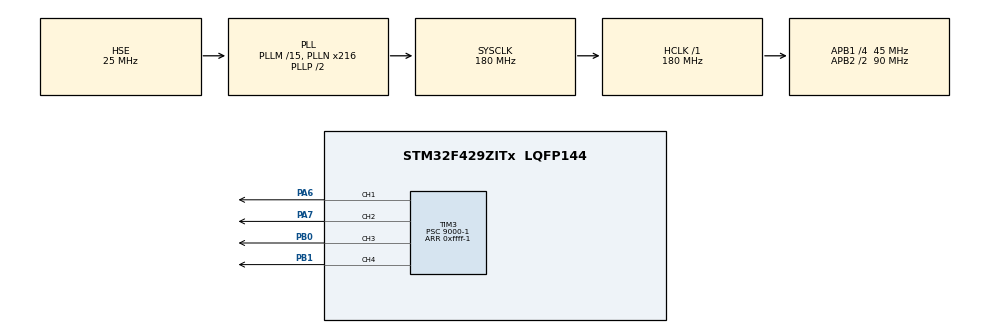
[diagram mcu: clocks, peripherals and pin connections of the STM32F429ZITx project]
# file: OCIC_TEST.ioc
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Mcu.Family=STM32F4
Mcu.Name=STM32F429ZITx
Mcu.Package=LQFP144
NVIC.PriorityGroup=NVIC_PRIORITYGROUP_4
NVIC.TIM3_IRQn=true\:0\:0\:false\:false\:true\:true\:true\:true
PA6.Signal=S_TIM3_CH1
PA7.Signal=S_TIM3_CH2
PB0.Signal=S_TIM3_CH3
PB1.Signal=S_TIM3_CH4
PC14/OSC32_IN.Mode=LSE-External-Oscillator
PC14/OSC32_IN.Signal=RCC_OSC32_IN
PC15/OSC32_OUT.Mode=LSE-External-Oscillator
PC15/OSC32_OUT.Signal=RCC_OSC32_OUT
PH0/OSC_IN.Mode=HSE-External-Clock-Source
PH0/OSC_IN.Signal=RCC_OSC_IN
PH1/OSC_OUT.Mode=HSE-External-Clock-Source
PH1/OSC_OUT.Signal=RCC_OSC_OUT
ProjectManager.HeapSize=0x200
ProjectManager.StackSize=0x400
ProjectManager.TargetToolchain=STM32CubeIDE
RCC.48MHZClocksFreq_Value=90000000
RCC.AHBFreq_Value=180000000
RCC.APB1CLKDivider=RCC_HCLK_DIV4
RCC.APB1Freq_Value=45000000
RCC.APB1TimFreq_Value=90000000
RCC.APB2CLKDivider=RCC_HCLK_DIV2
RCC.APB2Freq_Value=90000000
RCC.APB2TimFreq_Value=180000000
RCC.CortexFreq_Value=180000000
RCC.HCLKFreq_Value=180000000
RCC.HSE_VALUE=25000000
RCC.HSI_VALUE=16000000
RCC.PLLM=15
RCC.PLLN=216
RCC.PLLSourceVirtual=RCC_PLLSOURCE_HSE
RCC.SYSCLKFreq_VALUE=180000000
RCC.SYSCLKSource=RCC_SYSCLKSOURCE_PLLCLK
RCC.VCOOutputFreq_Value=360000000
SH.S_TIM3_CH1.0=TIM3_CH1,Output Compare1 CH1
SH.S_TIM3_CH2.0=TIM3_CH2,Output Compare2 CH2
SH.S_TIM3_CH3.0=TIM3_CH3,Output Compare3 CH3
SH.S_TIM3_CH4.0=TIM3_CH4,Output Compare4 CH4
TIM3.Channel-Output\ Compare1\ CH1=TIM_CHANNEL_1
TIM3.Channel-Output\ Compare2\ CH2=TIM_CHANNEL_2
TIM3.Channel-Output\ Compare3\ CH3=TIM_CHANNEL_3
TIM3.Channel-Output\ Compare4\ CH4=TIM_CHANNEL_4
TIM3.OCMode_1=TIM_OCMODE_TOGGLE
TIM3.OCMode_2=TIM_OCMODE_TOGGLE
TIM3.OCMode_3=TIM_OCMODE_TOGGLE
TIM3.OCMode_4=TIM_OCMODE_TOGGLE
TIM3.Period=0xffff-1
TIM3.Prescaler=9000-1
TIM3.Pulse-Output\ Compare1\ CH1=10000-1
TIM3.Pulse-Output\ Compare2\ CH2=5000-1
TIM3.Pulse-Output\ Compare3\ CH3=2500-1
TIM3.Pulse-Output\ Compare4\ CH4=1250-1
VP_TIM3_VS_ClockSourceINT.Mode=Internal
board=custom

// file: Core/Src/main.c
/* USER CODE BEGIN Header */
/**
  ******************************************************************************
  * @file           : main.c
  * @brief          : Main program body
  ******************************************************************************
  * @attention
  *
  * Copyright (c) 2023 STMicroelectronics.
  * All rights reserved.
  *
  * This software is licensed under terms that can be found in the LICENSE file
  * in the root directory of this software component.
  * If no LICENSE file comes with this software, it is provided AS-IS.
  *
  ******************************************************************************
  */
/* USER CODE END Header */
#include "main.h"

TIM_HandleTypeDef htim3;

void SystemClock_Config(void);
static void MX_GPIO_Init(void);
static void MX_TIM3_Init(void);

/* USER CODE BEGIN 0 */
void HAL_TIM_OC_DelayElapsedCallback(TIM_HandleTypeDef *htim)
{
  uint32_t capture = 0;

  if(htim->Instance == TIM3 && htim->Channel == HAL_TIM_ACTIVE_CHANNEL_1)
  {
	  //capture = HAL_TIM_ReadCapturedValue(htim, TIM_CHANNEL_1);
	  //__HAL_TIM_SET_COMPARE(htim, TIM_CHANNEL_1, capture + 10000-1);

	  capture = TIM3->CCR1;
	  TIM3->CCR1 = capture + 10000-1;
	  //0.5hz
  }

  if(htim->Instance == TIM3 && htim->Channel == HAL_TIM_ACTIVE_CHANNEL_2)
  {
	  //capture = HAL_TIM_ReadCapturedValue(htim, TIM_CHANNEL_2);
	  //__HAL_TIM_SET_COMPARE(htim, TIM_CHANNEL_2, capture + 5000-1);

	  capture = TIM3->CCR2;
	  TIM3->CCR2 = capture + 5000-1;
	  //1hz
  }

  if(htim->Instance == TIM3 && htim->Channel == HAL_TIM_ACTIVE_CHANNEL_3){

	  //capture = HAL_TIM_ReadCapturedValue(htim, TIM_CHANNEL_3);
	 //__HAL_TIM_SET_COMPARE(htim, TIM_CHANNEL_3, capture + 2500-1);

	  capture = TIM3->CCR3;
	  TIM3->CCR3 = capture + 2500-1;
	  //2hz
  }

  if(htim->Instance == TIM3 && htim->Channel == HAL_TIM_ACTIVE_CHANNEL_4){

	  //capture = HAL_TIM_ReadCapturedValue(htim, TIM_CHANNEL_4);
	  //__HAL_TIM_SET_COMPARE(htim, TIM_CHANNEL_4, capture + 1250-1);

	  capture = TIM3->CCR4;
	  TIM3->CCR4 = capture + 1250-1;
	  //4hz
  }
}
/* USER CODE END 0 */

int main(void)
{

  /* MCU Configuration--------------------------------------------------------*/

  /* Reset of all peripherals, Initializes the Flash interface and the Systick. */
  HAL_Init();

  /* Configure the system clock */
  SystemClock_Config();

  /* Initialize all configured peripherals */
  MX_GPIO_Init();
  MX_TIM3_Init();
  /* USER CODE BEGIN 2 */
  HAL_TIM_OC_Start_IT(&htim3, TIM_CHANNEL_1);
  HAL_TIM_OC_Start_IT(&htim3, TIM_CHANNEL_2);
  HAL_TIM_OC_Start_IT(&htim3, TIM_CHANNEL_3);
  HAL_TIM_OC_Start_IT(&htim3, TIM_CHANNEL_4);
  /* USER CODE END 2 */

  /* Infinite loop */
  while (1)
  {

  }
}

void SystemClock_Config(void)
{
  RCC_OscInitTypeDef RCC_OscInitStruct = {0};
  RCC_ClkInitTypeDef RCC_ClkInitStruct = {0};

  /** Configure the main internal regulator output voltage
  */
  __HAL_RCC_PWR_CLK_ENABLE();
  __HAL_PWR_VOLTAGESCALING_CONFIG(PWR_REGULATOR_VOLTAGE_SCALE1);

  /** Initializes the RCC Oscillators according to the specified parameters
  * in the RCC_OscInitTypeDef structure.
  */
  RCC_OscInitStruct.OscillatorType = RCC_OSCILLATORTYPE_HSE;
  RCC_OscInitStruct.HSEState = RCC_HSE_BYPASS;
  RCC_OscInitStruct.PLL.PLLState = RCC_PLL_ON;
  RCC_OscInitStruct.PLL.PLLSource = RCC_PLLSOURCE_HSE;
  RCC_OscInitStruct.PLL.PLLM = 15;
  RCC_OscInitStruct.PLL.PLLN = 216;
  RCC_OscInitStruct.PLL.PLLP = RCC_PLLP_DIV2;
  RCC_OscInitStruct.PLL.PLLQ = 4;
  if (HAL_RCC_OscConfig(&RCC_OscInitStruct) != HAL_OK)
  {
    Error_Handler();
  }

  /** Activate the Over-Drive mode
  */
  if (HAL_PWREx_EnableOverDrive() != HAL_OK)
  {
    Error_Handler();
  }

  /** Initializes the CPU, AHB and APB buses clocks
  */
  RCC_ClkInitStruct.ClockType = RCC_CLOCKTYPE_HCLK|RCC_CLOCKTYPE_SYSCLK
                              |RCC_CLOCKTYPE_PCLK1|RCC_CLOCKTYPE_PCLK2;
  RCC_ClkInitStruct.SYSCLKSource = RCC_SYSCLKSOURCE_PLLCLK;
  RCC_ClkInitStruct.AHBCLKDivider = RCC_SYSCLK_DIV1;
  RCC_ClkInitStruct.APB1CLKDivider = RCC_HCLK_DIV4;
  RCC_ClkInitStruct.APB2CLKDivider = RCC_HCLK_DIV2;

  if (HAL_RCC_ClockConfig(&RCC_ClkInitStruct, FLASH_LATENCY_5) != HAL_OK)
  {
    Error_Handler();
  }
}

static void MX_TIM3_Init(void)
{

  TIM_ClockConfigTypeDef sClockSourceConfig = {0};
  TIM_MasterConfigTypeDef sMasterConfig = {0};
  TIM_OC_InitTypeDef sConfigOC = {0};

  htim3.Instance = TIM3;
  htim3.Init.Prescaler = 9000-1;
  htim3.Init.CounterMode = TIM_COUNTERMODE_UP;
  htim3.Init.Period = 0xffff-1;
  htim3.Init.ClockDivision = TIM_CLOCKDIVISION_DIV1;
  htim3.Init.AutoReloadPreload = TIM_AUTORELOAD_PRELOAD_DISABLE;
  if (HAL_TIM_Base_Init(&htim3) != HAL_OK)
  {
    Error_Handler();
  }
  sClockSourceConfig.ClockSource = TIM_CLOCKSOURCE_INTERNAL;
  if (HAL_TIM_ConfigClockSource(&htim3, &sClockSourceConfig) != HAL_OK)
  {
    Error_Handler();
  }
  if (HAL_TIM_OC_Init(&htim3) != HAL_OK)
  {
    Error_Handler();
  }
  sMasterConfig.MasterOutputTrigger = TIM_TRGO_RESET;
  sMasterConfig.MasterSlaveMode = TIM_MASTERSLAVEMODE_DISABLE;
  if (HAL_TIMEx_MasterConfigSynchronization(&htim3, &sMasterConfig) != HAL_OK)
  {
    Error_Handler();
  }
  sConfigOC.OCMode = TIM_OCMODE_TOGGLE;
  sConfigOC.Pulse = 10000-1;
  sConfigOC.OCPolarity = TIM_OCPOLARITY_HIGH;
  sConfigOC.OCFastMode = TIM_OCFAST_DISABLE;
  if (HAL_TIM_OC_ConfigChannel(&htim3, &sConfigOC, TIM_CHANNEL_1) != HAL_OK)
  {
    Error_Handler();
  }
  sConfigOC.Pulse = 5000-1;
  if (HAL_TIM_OC_ConfigChannel(&htim3, &sConfigOC, TIM_CHANNEL_2) != HAL_OK)
  {
    Error_Handler();
  }
  sConfigOC.Pulse = 2500-1;
  if (HAL_TIM_OC_ConfigChannel(&htim3, &sConfigOC, TIM_CHANNEL_3) != HAL_OK)
  {
    Error_Handler();
  }
  sConfigOC.Pulse = 1250-1;
  if (HAL_TIM_OC_ConfigChannel(&htim3, &sConfigOC, TIM_CHANNEL_4) != HAL_OK)
  {
    Error_Handler();
  }
  HAL_TIM_MspPostInit(&htim3);

}

static void MX_GPIO_Init(void)
{

  /* GPIO Ports Clock Enable */
  __HAL_RCC_GPIOC_CLK_ENABLE();
  __HAL_RCC_GPIOH_CLK_ENABLE();
  __HAL_RCC_GPIOA_CLK_ENABLE();
  __HAL_RCC_GPIOB_CLK_ENABLE();

}

void Error_Handler(void)
{
  __disable_irq();
  while (1)
  {
  }
}
